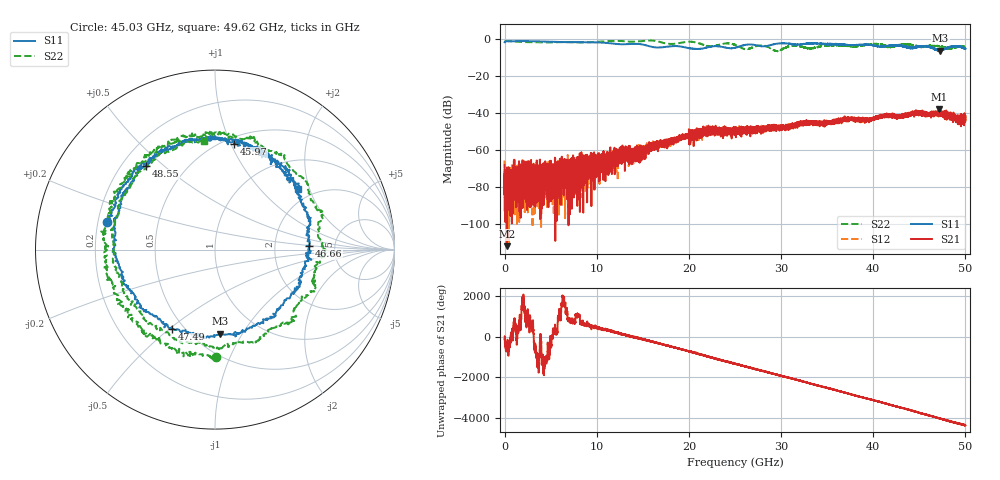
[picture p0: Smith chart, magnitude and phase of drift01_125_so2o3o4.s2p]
!Created with skrf (http://scikit-rf.org).
# Hz S RI R 50.0
!freq ReS11 ImS11 ReS21 ImS21 ReS12 ImS12 ReS22 ImS22
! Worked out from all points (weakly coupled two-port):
!   10001 points, 300 kHz to 50 GHz, reference 50 ohm
!   highest |S21| = -38.31 dB at 47.11 GHz (marker M1); lowest = -112.1 dB at 240.3 MHz (marker M2)
!   lowest |S11| = -6.6 dB at 47.28 GHz (marker M3), VSWR 2.77, Z = 33.5 - j40.2 ohm
!   |S11| at or under -10 dB: nowhere
!   |S22| runs from -6.8 to -1.0 dB; largest |S21 - S12| = 0.0039
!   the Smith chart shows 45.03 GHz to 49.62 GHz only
!   S11 on the Smith chart (normalised r, x): 45.03 GHz: 0.24, +0.12; 45.97 GHz: 0.56, +1.03; 46.66 GHz: 3.20, +0.19; 47.49 GHz: 0.43, -0.51; 48.55 GHz: 0.30, +0.44; 49.62 GHz: 1.67, +1.69
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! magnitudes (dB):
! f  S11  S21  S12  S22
! 300 kHz  -2.1  -68.1  -65.9  -1.3
! 240.3 MHz  -1.4  -112.1  -75.7  -1.4
! 3.8 GHz  -1.6  -82.9  -80.0  -2.0
! 8.335 GHz  -1.9  -75.5  -70.4  -2.1
! 16.67 GHz  -4.8  -57.1  -57.0  -1.6
! 21.69 GHz  -5.2  -49.0  -49.5  -3.6
! 25 GHz  -5.0  -50.8  -49.2  -3.4
! 26.19 GHz  -3.3  -47.7  -49.8  -5.7
! 28.08 GHz  -4.2  -48.0  -49.1  -3.8
! 29.55 GHz  -2.8  -48.0  -48.8  -6.7
! 31.29 GHz  -3.1  -47.0  -47.2  -4.0
! 33.34 GHz  -2.6  -45.8  -45.3  -5.5
! 41.67 GHz  -3.9  -41.7  -41.4  -4.5
! 45.03 GHz  -4.2  -39.9  -39.8  -4.4
! 45.97 GHz  -4.5  -41.4  -40.7  -4.0
! 46.66 GHz  -5.6  -40.5  -40.3  -3.9
! 47.11 GHz  -6.4  -38.3  -40.8  -4.0
! 47.28 GHz  -6.6  -39.8  -41.0  -4.1
! 47.49 GHz  -6.0  -41.2  -40.6  -4.3
! 48.55 GHz  -4.4  -42.0  -41.8  -5.2
! 49.62 GHz  -4.8  -43.9  -43.8  -4.3
! 50 GHz  -5.5  -44.3  -43.0  -4.2
